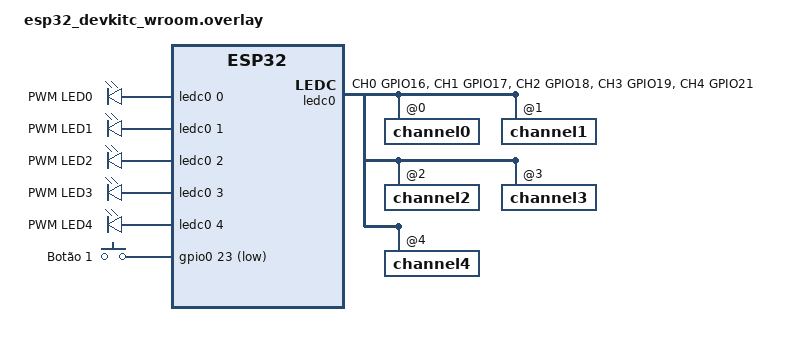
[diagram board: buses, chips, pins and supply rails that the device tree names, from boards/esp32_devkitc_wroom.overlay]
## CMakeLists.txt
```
#cmake_minimum_required(VERSION 3.20.0)
#project(lil_proj)
#find_package(Zephyr REQUIRED HINTS $ENV{ZEPHYR_BASE})
#
#set(IDF_PATH "$ENV{IDF_PATH}")
#include($ENV{IDF_PATH}/tools/cmake/project.cmake)
#add_custom_target(little_proj)
#
#target_sources(app PRIVATE src/main.c)

cmake_minimum_required(VERSION 3.20.0)

set(BOARD "esp32_devkitc_wroom/esp32/procpu")
find_package(Zephyr REQUIRED HINTS $ENV{ZEPHYR_BASE})
project(hello_world)
FILE(GLOB app_sources src/*.c)
target_sources(app PRIVATE ${app_sources})
```

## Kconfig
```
menu "Zephyr"
source "Kconfig.zephyr"
endmenu

module = APP
module-str = APP
```

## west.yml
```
# Copyright (c) 2021 Nordic Semiconductor ASA
# SPDX-License-Identifier: Apache-2.0

manifest:
  self:
    west-commands: scripts/west-commands.yml

  remotes:
    - name: zephyrproject-rtos
      url-base: https://github.com/zephyrproject-rtos

  projects:
    - name: zephyr
      remote: zephyrproject-rtos
      revision: main
      import:
        # By using name-allowlist we can clone only the modules that are
        # strictly needed by the application.
        name-allowlist:
          - cmsis      # required by the ARM port
          - hal_espressif
          - tinycrypt
          - open-amp
```

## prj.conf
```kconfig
CONFIG_STDOUT_CONSOLE=y
CONFIG_PRINTK=y
CONFIG_PWM=y
CONFIG_LOG=y
CONFIG_LOG_PRINTK=y
CONFIG_PWM=y
CONFIG_LED=y
CONFIG_LED_STRIP=y
CONFIG_LOG_MODE_IMMEDIATE=y
CONFIG_GPIO=y
```

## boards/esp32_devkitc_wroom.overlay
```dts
/*
 * SPDX-License-Identifier: Apache-2.0
 *
 * Copyright (c) 2021 Andrei-Edward Popa
 * Copyright (c) 2022 Espressif Systems (Shanghai) Co., Ltd.
 */

#include <zephyr/dt-bindings/pwm/pwm.h>

/ {
	pwmleds {
		compatible = "pwm-leds";
		pwm_led0: pwm_led0 {
			label = "PWM LED0";
			pwms = <&ledc0 0 1000 PWM_POLARITY_NORMAL>;
		};
		
		pwm_led1: pwm_led1 {
			label = "PWM LED1";
			pwms = <&ledc0 1 1000 PWM_POLARITY_NORMAL>;
		};
		
		pwm_led2: pwm_led2 {
			label = "PWM LED2";
			pwms = <&ledc0 2 1000 PWM_POLARITY_NORMAL>;
		};

		pwm_led3: pwm_led3 {
			label = "PWM LED3";
			pwms = <&ledc0 3 1000 PWM_POLARITY_NORMAL>;
		};

		pwm_led4: pwm_led4 {
			label = "PWM LED4";
			pwms = <&ledc0 4 1000 PWM_POLARITY_NORMAL>;
		};
	};

	buttons {
		compatible = "gpio-keys";
		button0: button_0 {
			gpios = <&gpio0 23 (GPIO_PULL_UP | GPIO_ACTIVE_LOW)>;
			label = "Botão 1";
			zephyr,code = <INPUT_KEY_0>;
		};
	};

	aliases {
		bt0 = &button0;
	};
};

&pinctrl {
	ledc0_default: ledc0_default {
		group1 {
			pinmux = <LEDC_CH0_GPIO16>,
							<LEDC_CH1_GPIO17>,
							<LEDC_CH2_GPIO18>,
							<LEDC_CH3_GPIO19>,
							<LEDC_CH4_GPIO21>;
			output-enable;
		};
	};
};

&ledc0 {
	pinctrl-0 = <&ledc0_default>;
	pinctrl-names = "default";
	status = "okay";
	#address-cells = <1>;
	#size-cells = <0>;
	channel0@0 {
		reg = <0x0>;
		timer = <0>;
	};
	channel1@1 {
		reg = <0x1>;
		timer = <0>;
	};
	channel2@2 {
		reg = <0x2>;
		timer = <0>;
	};
	channel3@3 {
		reg = <0x3>;
		timer = <0>;
	};
	channel4@4 {
		reg = <0x4>;
		timer = <0>;
	};
};
```

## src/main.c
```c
/*
 * Copyright (c) 2020 Seagate Technology LLC
 *
 * SPDX-License-Identifier: Apache-2.0
 */

#include <zephyr/device.h>
#include <zephyr/devicetree.h>
#include <errno.h>
#include <zephyr/drivers/led.h>
#include <zephyr/sys/util.h>
#include <zephyr/kernel.h>
#include <zephyr/drivers/gpio.h>

#include <zephyr/logging/log.h>
#include "main.h"

LOG_MODULE_REGISTER(main, CONFIG_LOG_DEFAULT_LEVEL);

K_THREAD_DEFINE(animation1, ANIMATIONS_STACK_SIZE,
								go_and_goback, NULL, NULL, NULL,
								16, 0, 0);

K_THREAD_DEFINE(animation2, ANIMATIONS_STACK_SIZE,
								sequence_on_off, NULL, NULL, NULL,
								16, 0, 0);

K_THREAD_DEFINE(animation3, ANIMATIONS_STACK_SIZE,
								pulse, NULL, NULL, NULL,
								16, 0, 0);

static const struct device *led_pwm = DEVICE_DT_GET(LED_PWM_NODE_ID);

const char *led_label[] = {
	DT_FOREACH_CHILD_SEP_VARGS(LED_PWM_NODE_ID, DT_PROP_OR, (,), label, NULL)
};

const int num_leds = ARRAY_SIZE(led_label);
int animation = 0;

void button_pressed(const struct device *dev, struct gpio_callback *cb, uint32_t pins) {
	animation++;
	
	if (animation > 2) {
		animation = 0;
	}

	switch (animation) {
		case 0:
		k_thread_resume(animation1);
		k_thread_suspend(animation2);
		k_thread_suspend(animation3);
		break;
		case 1:
		k_thread_suspend(animation1);
		k_thread_resume(animation2);
		k_thread_suspend(animation3);
		break;
		case 2:
		k_thread_suspend(animation1);
		k_thread_suspend(animation2);
		k_thread_resume(animation3);
		break;

		default:
		break;
	}
}

void go_and_goback(void) {
	int err, i, j;

	do {
		for (i = 0; i < num_leds; i++) {
			err = led_on(led_pwm, i);
			if (err) {
				LOG_ERR("led on error %s (err %d)", led_pwm->name, err);
			}
			k_sleep(K_MSEC(100));
		}
		
		for (j = num_leds - 1; j >= 0; j--) {
			err = led_off(led_pwm, j);
			if (err) {
				LOG_ERR("led off error %s (err %d)", led_pwm->name, err);
			}
			k_sleep(K_MSEC(100));
		}
		
	} while (true);
}

void sequence_on_off(void) {
	int err, i, j;

	do {
		for (i = 0; i < num_leds; i++) {
			err = led_on(led_pwm, i);
			if (err) {
				LOG_ERR("led on error (err %d)", err);
			}
			k_sleep(K_MSEC(100));
		}
		
		for (i = 0; i < num_leds; i++) {
			err = led_off(led_pwm, i);
			if (err) {
				LOG_ERR("led off error (err %d)", err);	
			}
			k_sleep(K_MSEC(100));
		}
		
	} while (true);
}

void pulse(void) {
	int err, i, level;

	do {
		for (i = 0; i <= 100; i++) {
			for (int j = 0; j < num_leds; j++) {
				err = led_set_brightness(led_pwm, j, i);
				if (err) {
					LOG_ERR("led on error (err %d)", err);
				}
			}

			k_sleep(K_MSEC(20));
		}

		for (i = 0; i <= 100; i++) {
			for (int j = 0; j < num_leds; j++) {
				err = led_set_brightness(led_pwm, j, 100 - i);
				if (err) {
					LOG_ERR("led on error (err %d)", err);
				}
			}

			k_sleep(K_MSEC(20));
		}
		
	} while (true);
}

int main(void)
{
	int err, ret;

	if (!gpio_is_ready_dt(&button)) {
		LOG_ERR("Error: button device %s is not ready",
		       button.port->name);
		return 0;
	}

	ret = gpio_pin_configure_dt(&button, GPIO_INPUT);
	if (ret != 0) {
		LOG_ERR("Error %d: failed to configure %s pin %d",
		       ret, button.port->name, button.pin);
		return 0;
	}

	ret = gpio_pin_interrupt_configure_dt(&button,
					      GPIO_INT_EDGE_TO_ACTIVE);
	if (ret != 0) {
		LOG_ERR("Error %d: failed to configure interrupt on %s pin %d",
			ret, button.port->name, button.pin);
		return 0;
	}

	gpio_init_callback(&button_cb_data, button_pressed, BIT(button.pin));
	gpio_add_callback(button.port, &button_cb_data);

	if (!device_is_ready(led_pwm)){
		LOG_ERR("error startings LEDs");
	}
	
	k_thread_suspend(animation2);
	k_thread_suspend(animation3);

	return 0;
}
```

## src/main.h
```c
#define SW0_NODE	DT_ALIAS(bt0)
#define LED_PWM_NODE_ID	 DT_COMPAT_GET_ANY_STATUS_OKAY(pwm_leds)
#define MAX_BRIGHTNESS	100
#define ANIMATIONS_STACK_SIZE 1024


static const struct gpio_dt_spec button = GPIO_DT_SPEC_GET_OR(SW0_NODE, gpios, {0});
static struct gpio_callback button_cb_data;

void go_and_goback(void);

void sequence_on_off(void);

void pulse(void);
```
